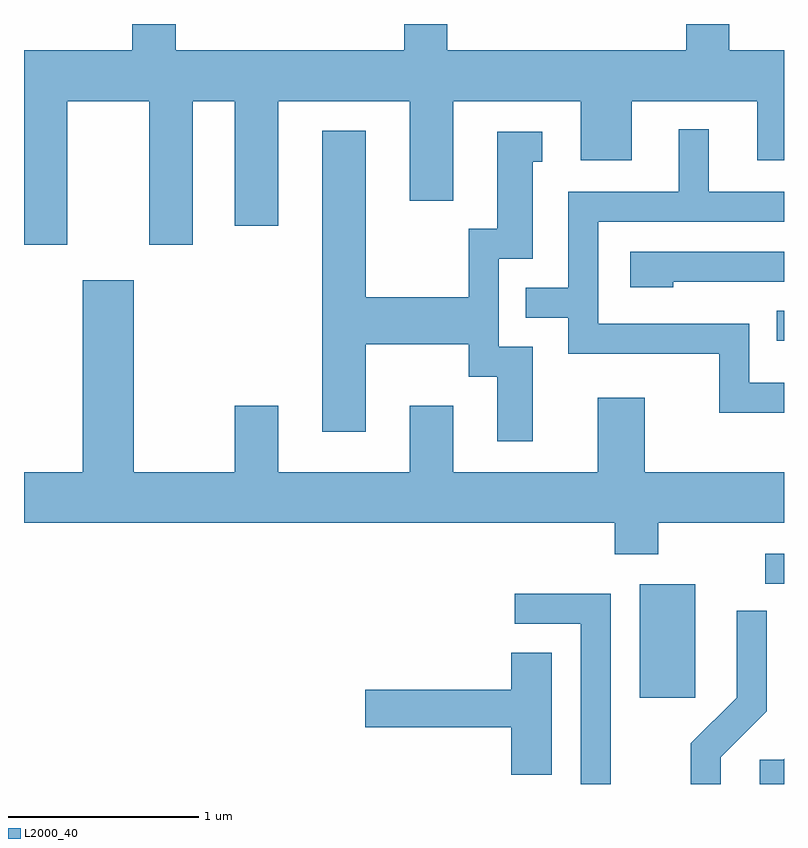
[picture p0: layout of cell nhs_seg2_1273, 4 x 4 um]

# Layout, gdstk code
import gdstk
lib = gdstk.Library(unit=1e-6, precision=1e-09)
def R(c, l, rs):  # rectangles x0, y0, x1, y1
    for r in rs: c.add(gdstk.rectangle(r[:2], r[2:], *l))
def P(c, l, *ps):  # polygons
    for p in ps: c.add(gdstk.Polygon(p, *l))
L2000_40 = (2000, 40)

nhs_seg2_1273 = lib.new_cell('nhs_seg2_1273')
R(nhs_seg2_1273, L2000_40, [(224.851,1076.256,225.144,1076.854), (225.513,1076.856,225.611,1077.014), (225.573,1078.136,225.611,1078.294)])
P(nhs_seg2_1273, L2000_40, [(223.839,1079.802),(223.611,1079.802),(223.611,1079.664),(222.409,1079.664),(222.409,1079.802),(222.181,1079.802),(222.181,1079.664),(221.611,1079.664),(221.611,1078.641),(221.839,1078.641),(221.839,1079.396),(222.271,1079.396),(222.271,1078.641),(222.499,1078.641),(222.499,1079.396),(222.721,1079.396),(222.721,1078.741),(222.949,1078.741),(222.949,1079.396),(223.641,1079.396),(223.641,1078.871),(223.869,1078.871),(223.869,1079.396),(224.541,1079.396),(224.541,1079.086),(224.809,1079.086),(224.809,1079.396),(225.471,1079.396),(225.471,1079.086),(225.611,1079.086),(225.611,1079.664),(225.324,1079.664),(225.324,1079.802),(225.096,1079.802),(225.096,1079.664),(223.839,1079.664)],
  [(225.611,1077.914),(225.429,1077.914),(225.429,1078.224),(224.634,1078.224),(224.634,1078.761),(225.611,1078.761),(225.611,1078.919),(225.214,1078.919),(225.214,1079.248),(225.056,1079.248),(225.056,1078.919),(224.476,1078.919),(224.476,1078.414),(224.253,1078.414),(224.253,1078.256),(224.476,1078.256),(224.476,1078.066),(225.271,1078.066),(225.271,1077.756),(225.611,1077.756)],
  [(224.289,1078.104),(224.109,1078.104),(224.109,1078.566),(224.289,1078.566),(224.289,1079.076),(224.338,1079.076),(224.338,1079.234),(224.101,1079.234),(224.101,1078.724),(223.951,1078.724),(223.951,1078.364),(223.409,1078.364),(223.409,1079.239),(223.181,1079.239),(223.181,1077.656),(223.409,1077.656),(223.409,1078.116),(223.951,1078.116),(223.951,1077.946),(224.101,1077.946),(224.101,1077.606),(224.289,1077.606)],
  [(225.029,1078.446),(225.611,1078.446),(225.611,1078.604),(224.801,1078.604),(224.801,1078.416),(225.029,1078.416)],
  [(224.949,1077.176),(225.611,1077.176),(225.611,1077.444),(224.879,1077.444),(224.879,1077.834),(224.631,1077.834),(224.631,1077.444),(223.869,1077.444),(223.869,1077.794),(223.641,1077.794),(223.641,1077.444),(222.949,1077.444),(222.949,1077.794),(222.721,1077.794),(222.721,1077.444),(222.189,1077.444),(222.189,1078.454),(221.921,1078.454),(221.921,1077.444),(221.611,1077.444),(221.611,1077.176),(224.721,1077.176),(224.721,1077.011),(224.949,1077.011)],
  [(224.699,1076.804),(224.193,1076.804),(224.193,1076.646),(224.541,1076.646),(224.541,1075.802),(224.699,1075.802)],
  [(225.279,1075.944),(225.519,1076.184),(225.519,1076.713),(225.361,1076.713),(225.361,1076.257),(225.121,1076.017),(225.121,1075.802),(225.279,1075.802)],
  [(224.389,1076.494),(224.176,1076.494),(224.176,1076.299),(223.406,1076.299),(223.406,1076.101),(224.176,1076.101),(224.176,1075.851),(224.389,1075.851)],
  [(225.611,1075.936),(225.604,1075.929),(225.483,1075.929),(225.483,1075.802),(225.611,1075.802)])

lib.write_gds('nhs_seg2_1273.gds')
